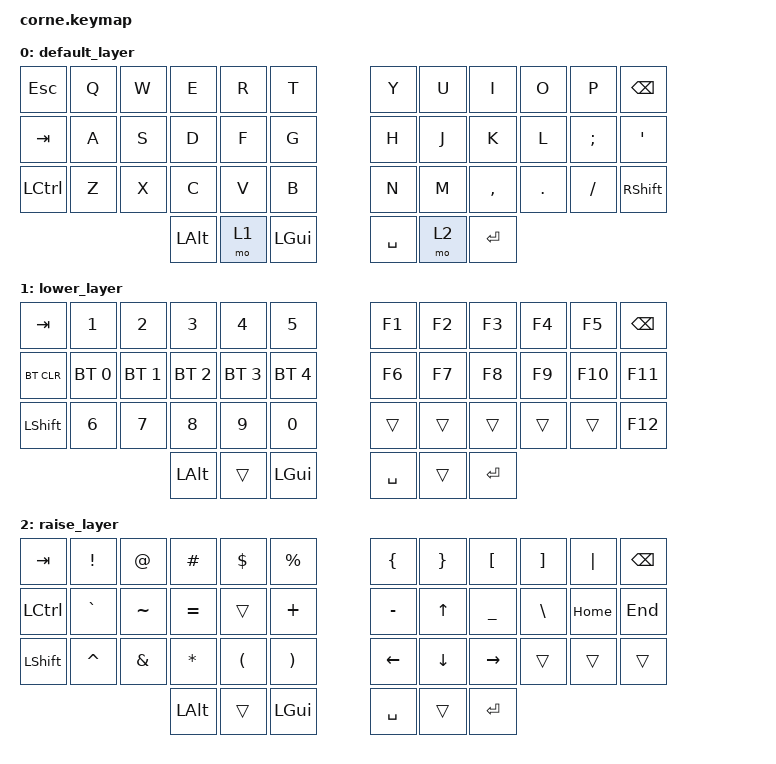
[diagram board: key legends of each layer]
/*
 * Copyright (c) 2020 The ZMK Contributors
 *
 * SPDX-License-Identifier: MIT
 */

#include <behaviors.dtsi>
#include <dt-bindings/zmk/bt.h>
#include <dt-bindings/zmk/keys.h>

/ {
    behaviors {
        shift: shift {
            compatible = "zmk,behavior-hold-tap";
            label = "SHIFT";
            bindings = <&kp>, <&kp>;

            flavor = "tap-preferred";
            #binding-cells = <2>;
            tapping-term-ms = <400>;
        };
    };

    keymap {
        compatible = "zmk,keymap";

        default_layer {
            // -----------------------------------------------------------------------------------------
            // |  TAB |  Q  |  W  |  E  |  R  |  T  |   |  Y  |  U   |  I  |  O  |  P  | BKSP |
            // | CTRL |  A  |  S  |  D  |  F  |  G  |   |  H  |  J   |  K  |  L  |  ;  |  '   |
            // | SHFT |  Z  |  X  |  C  |  V  |  B  |   |  N  |  M   |  ,  |  .  |  /  | ESC  |
            //                    | GUI | LWR | SPC |   | ENT | RSE  | ALT |

            bindings = <
&kp ESC    &kp Q  &kp W  &kp E         &kp R  &kp T           &kp Y      &kp U  &kp I      &kp O    &kp P     &kp BSPC
&kp TAB    &kp A  &kp S  &kp D         &kp F  &kp G           &kp H      &kp J  &kp K      &kp L    &kp SEMI  &kp SQT
&kp LCTRL  &kp Z  &kp X  &kp C         &kp V  &kp B           &kp N      &kp M  &kp COMMA  &kp DOT  &kp FSLH  &kp RSHIFT
                         &kp LEFT_ALT  &mo 1  &kp LEFT_GUI    &kp SPACE  &mo 2  &kp ENTER
            >;
        };

        lower_layer {
            // -----------------------------------------------------------------------------------------
            // |  TAB |  1  |  2  |  3  |  4  |  5  |   |  6  |  7  |  8  |  9  |  0  | BKSP |
            // | BTCLR| BT1 | BT2 | BT3 | BT4 | BT5 |   | LFT | DWN |  UP | RGT |     |      |
            // | SHFT |     |     |     |     |     |   |     |     |     |     |     |      |
            //                    | GUI |     | SPC |   | ENT |     | ALT |

            bindings = <
&kp TAB     &kp N1        &kp N2        &kp N3        &kp N4        &kp N5          &kp F1     &kp F2  &kp F3     &kp F4  &kp F5   &kp BSPC
&bt BT_CLR  &bt BT_SEL 0  &bt BT_SEL 1  &bt BT_SEL 2  &bt BT_SEL 3  &bt BT_SEL 4    &kp F6     &kp F7  &kp F8     &kp F9  &kp F10  &kp F11
&kp LSHFT   &kp N6        &kp N7        &kp N8        &kp N9        &kp N0          &trans     &trans  &trans     &trans  &trans   &kp F12
                                        &kp LEFT_ALT  &trans        &kp LEFT_GUI    &kp SPACE  &trans  &kp ENTER
            >;
        };

        raise_layer {
            // -----------------------------------------------------------------------------------------
            // |  TAB |  !  |  @  |  #  |  $  |  %  |   |  ^  |  &  |  *  |  (  |  )  | BKSP |
            // | CTRL |     |     |     |     |     |   |  -  |  =  |  [  |  ]  |  \  |  `   |
            // | SHFT |     |     |     |     |     |   |  _  |  +  |  {  |  }  | "|" |  ~   |
            //                    | GUI |     | SPC |   | ENT |     | ALT |

            bindings = <
&kp TAB    &kp EXCL   &kp AT         &kp HASH      &kp DLLR              &kp PRCNT                &kp LEFT_BRACE  &kp RIGHT_BRACE  &kp LEFT_BRACKET  &kp RIGHT_BRACKET  &kp PIPE  &kp BSPC
&kp LCTRL  &kp GRAVE  &kp TILDE      &kp EQUAL     &trans                &kp PLUS                 &kp MINUS       &kp UP_ARROW     &kp UNDERSCORE    &kp BACKSLASH      &kp HOME  &kp END
&kp LSHFT  &kp CARET  &kp AMPERSAND  &kp ASTRK     &kp LEFT_PARENTHESIS  &kp RIGHT_PARENTHESIS    &kp LEFT        &kp DOWN         &kp RIGHT         &trans             &trans    &trans
                                     &kp LEFT_ALT  &trans                &kp LEFT_GUI             &kp SPACE       &trans           &kp ENTER
            >;
        };
    };
};
